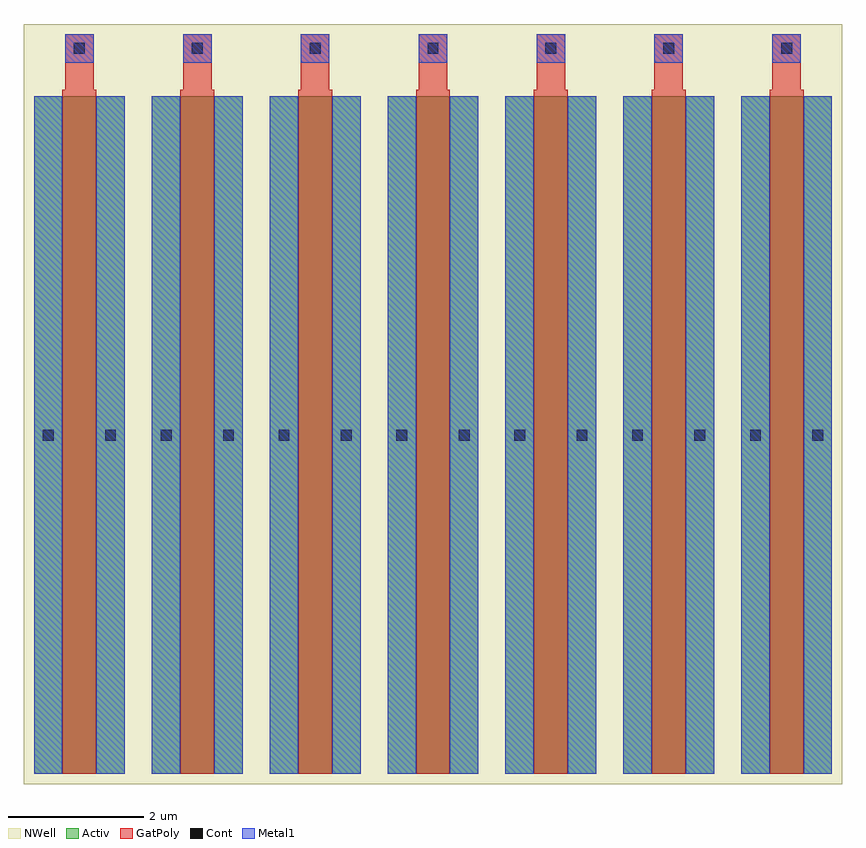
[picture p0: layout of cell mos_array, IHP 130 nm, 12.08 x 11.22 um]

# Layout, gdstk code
import gdstk
lib = gdstk.Library(unit=1e-6, precision=1e-09)
def R(c, l, rs):  # rectangles x0, y0, x1, y1
    for r in rs: c.add(gdstk.rectangle(r[:2], r[2:], *l))
def A(c, l, x, y, w, h, nx, ny, dx, dy):  # array of equal rectangles
    R(c, l, [(x+i*dx, y+j*dy, x+i*dx+w, y+j*dy+h) for i in range(nx) for j in range(ny)])
Activ = (1, 0)
GatPoly = (5, 0)
Cont = (6, 0)
Metal1 = (8, 0)
NWell = (31, 0)

mos_array = lib.new_cell('mos_array')
A(mos_array, Activ, 0, 0, 1.34, 10, 7, 1, 1.74, 0)
A(mos_array, GatPoly, 0.42, 0, 0.5, 10, 7, 1, 1.74, 0)
A(mos_array, GatPoly, 0.42, 10, 0.5, 0.1, 7, 1, 1.74, 0)
A(mos_array, GatPoly, 0.46, 10.1, 0.42, 0.82, 7, 1, 1.74, 0)
A(mos_array, Cont, 0.59, 10.63, 0.16, 0.16, 7, 1, 1.74, 0)
R(mos_array, Cont, [(0.13,4.92,0.29,5.08), (1.05,4.92,1.21,5.08), (1.87,4.92,2.03,5.08), (2.79,4.92,2.95,5.08), (3.61,4.92,3.77,5.08), (4.53,4.92,4.69,5.08), (5.35,4.92,5.51,5.08), (6.27,4.92,6.43,5.08), (7.09,4.92,7.25,5.08), (8.01,4.92,8.17,5.08), (8.83,4.92,8.99,5.08), (9.75,4.92,9.91,5.08), (10.57,4.92,10.73,5.08), (11.49,4.92,11.65,5.08)])
A(mos_array, Metal1, 0.46, 10.5, 0.42, 0.42, 7, 1, 1.74, 0)
R(mos_array, Metal1, [(0,0,0.42,10), (0.92,0,1.34,10), (1.74,0,2.16,10), (2.66,0,3.08,10), (3.48,0,3.9,10), (4.4,0,4.82,10), (5.22,0,5.64,10), (6.14,0,6.56,10), (6.96,0,7.38,10), (7.88,0,8.3,10), (8.7,0,9.12,10), (9.62,0,10.04,10), (10.44,0,10.86,10), (11.36,0,11.78,10)])
R(mos_array, NWell, [(-0.15,-0.15,11.93,11.07)])

lib.write_gds('mos_array.gds')
